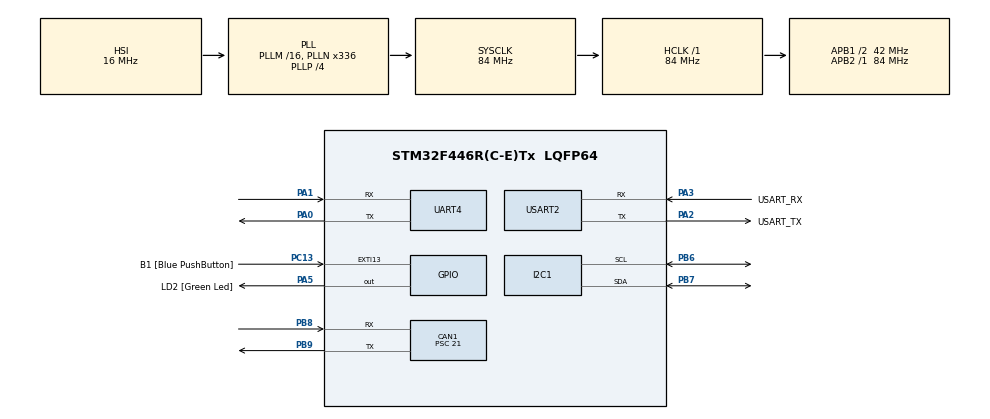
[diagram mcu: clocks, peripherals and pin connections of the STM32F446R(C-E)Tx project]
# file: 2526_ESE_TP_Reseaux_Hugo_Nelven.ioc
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CAN1.BS1=CAN_BS1_2TQ
CAN1.CalculateBaudRate=500000
CAN1.CalculateTimeBit=2000
CAN1.CalculateTimeQuantum=500.0
CAN1.Prescaler=21
Mcu.Family=STM32F4
Mcu.Name=STM32F446R(C-E)Tx
Mcu.Package=LQFP64
NVIC.PriorityGroup=NVIC_PRIORITYGROUP_0
NVIC.UART4_IRQn=true\:0\:0\:false\:false\:true\:true\:true\:true
PA0-WKUP.Mode=Asynchronous
PA0-WKUP.Signal=UART4_TX
PA1.Mode=Asynchronous
PA1.Signal=UART4_RX
PA13.GPIO_Label=TMS
PA13.Mode=Serial_Wire
PA13.Signal=SYS_JTMS-SWDIO
PA14.GPIO_Label=TCK
PA14.Mode=Serial_Wire
PA14.Signal=SYS_JTCK-SWCLK
PA2.GPIO_Label=USART_TX
PA2.Mode=Asynchronous
PA2.Signal=USART2_TX
PA3.GPIO_Label=USART_RX
PA3.Mode=Asynchronous
PA3.Signal=USART2_RX
PA5.GPIO_Label=LD2 [Green Led]
PA5.Signal=GPIO_Output
PB3.GPIO_Label=SWO
PB3.Signal=SYS_JTDO-SWO
PB6.Mode=I2C
PB6.Signal=I2C1_SCL
PB7.Mode=I2C
PB7.Signal=I2C1_SDA
PB8.Mode=CAN_Activate
PB8.Signal=CAN1_RX
PB9.Mode=CAN_Activate
PB9.Signal=CAN1_TX
PC13.GPIO_Label=B1 [Blue PushButton]
PC13.GPIO_ModeDefaultEXTI=GPIO_MODE_IT_FALLING
PC13.Signal=GPXTI13
PC14-OSC32_IN.Mode=LSE-External-Oscillator
PC14-OSC32_IN.Signal=RCC_OSC32_IN
PC15-OSC32_OUT.Mode=LSE-External-Oscillator
PC15-OSC32_OUT.Signal=RCC_OSC32_OUT
PH0-OSC_IN.Mode=HSE-External-Oscillator
PH0-OSC_IN.Signal=RCC_OSC_IN
PH1-OSC_OUT.Mode=HSE-External-Oscillator
PH1-OSC_OUT.Signal=RCC_OSC_OUT
ProjectManager.HeapSize=0x200
ProjectManager.StackSize=0x400
ProjectManager.TargetToolchain=STM32CubeIDE
RCC.48MHZClocksFreq_Value=84000000
RCC.AHBFreq_Value=84000000
RCC.APB1CLKDivider=RCC_HCLK_DIV2
RCC.APB1Freq_Value=42000000
RCC.APB1TimFreq_Value=84000000
RCC.APB2Freq_Value=84000000
RCC.APB2TimFreq_Value=84000000
RCC.CortexFreq_Value=84000000
RCC.FLatency-AdvancedSettings=FLASH_LATENCY_2
RCC.HCLKFreq_Value=84000000
RCC.HSE_VALUE=8000000
RCC.HSI_VALUE=16000000
RCC.PLLN=336
RCC.PLLP=RCC_PLLP_DIV4
RCC.SYSCLKFreq_VALUE=84000000
RCC.SYSCLKSource=RCC_SYSCLKSOURCE_PLLCLK
RCC.USBFreq_Value=168000000
RCC.VCOOutputFreq_Value=336000000
UART4.VirtualMode=Asynchronous
USART2.VirtualMode=VM_ASYNC
board=NUCLEO-F446RE

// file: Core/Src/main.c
/* USER CODE BEGIN Header */
/**
 ******************************************************************************
 * @file           : main.c
 * @brief          : Main program body
 ******************************************************************************
 * @attention
 *
 * Copyright (c) 2025 STMicroelectronics.
 * All rights reserved.
 *
 * This software is licensed under terms that can be found in the LICENSE file
 * in the root directory of this software component.
 * If no LICENSE file comes with this software, it is provided AS-IS.
 *
 ******************************************************************************
 */
/* USER CODE END Header */
#include "main.h"
#include "can.h"
#include "i2c.h"
#include "usart.h"
#include "gpio.h"

/* USER CODE BEGIN Includes */
#include <stdio.h>
#include "bmp280.h"
#include "driver_can.h"
/* USER CODE END Includes */

void SystemClock_Config(void);

/* USER CODE BEGIN 0 */
uint8_t uart4_rx;
char command[16];
uint8_t cmd_index = 0;
/* USER CODE END 0 */

int main(void)
{

	/* MCU Configuration--------------------------------------------------------*/

	/* Reset of all peripherals, Initializes the Flash interface and the Systick. */
	HAL_Init();

	/* Configure the system clock */
	SystemClock_Config();

	/* Initialize all configured peripherals */
	MX_GPIO_Init();
	MX_USART2_UART_Init();
	MX_CAN1_Init();
	MX_I2C1_Init();
	MX_UART4_Init();
	/* USER CODE BEGIN 2 */
	printf("==== 2526_ESE_TP_Reseaux_Hugo_Nelven ====\r\n");
	if (BMP280_Init()!= HAL_OK){
		printf("error init\r\n");
		Error_Handler();
	}

	DRIVER_CAN_Init();

	int32_t temp100;
	uint32_t press100;

	BMP280_ReadCalibration();
	HAL_UART_Receive_IT(&huart4, &uart4_rx, 1);
	/* USER CODE END 2 */

	/* Infinite loop */
	while (1)
	{

		/* USER CODE BEGIN 3 */
		if (BMP280_ReadTempPressInt(&temp100, &press100) == HAL_OK)
		{
//			printf("Temp = %ld.%02ld °C, Press = %lu.%02lu hPa\r\n",
//					temp100 / 100, temp100 % 100,
//					press100 / 100, press100 % 100);
		}

//		DRIVER_CAN_SendAngle(90, POSITIVE);
//		HAL_Delay(1000);
//		DRIVER_CAN_SendAngle(90, NEGATIVE);
//		HAL_Delay(1000);

		temp_to_angle_hot_or_cold(temp100);

	}

	/* USER CODE END 3 */
}

void SystemClock_Config(void)
{
	RCC_OscInitTypeDef RCC_OscInitStruct = {0};
	RCC_ClkInitTypeDef RCC_ClkInitStruct = {0};

	/** Configure the main internal regulator output voltage
	 */
	__HAL_RCC_PWR_CLK_ENABLE();
	__HAL_PWR_VOLTAGESCALING_CONFIG(PWR_REGULATOR_VOLTAGE_SCALE3);

	/** Initializes the RCC Oscillators according to the specified parameters
	 * in the RCC_OscInitTypeDef structure.
	 */
	RCC_OscInitStruct.OscillatorType = RCC_OSCILLATORTYPE_HSI;
	RCC_OscInitStruct.HSIState = RCC_HSI_ON;
	RCC_OscInitStruct.HSICalibrationValue = RCC_HSICALIBRATION_DEFAULT;
	RCC_OscInitStruct.PLL.PLLState = RCC_PLL_ON;
	RCC_OscInitStruct.PLL.PLLSource = RCC_PLLSOURCE_HSI;
	RCC_OscInitStruct.PLL.PLLM = 16;
	RCC_OscInitStruct.PLL.PLLN = 336;
	RCC_OscInitStruct.PLL.PLLP = RCC_PLLP_DIV4;
	RCC_OscInitStruct.PLL.PLLQ = 2;
	RCC_OscInitStruct.PLL.PLLR = 2;
	if (HAL_RCC_OscConfig(&RCC_OscInitStruct) != HAL_OK)
	{
		Error_Handler();
	}

	/** Initializes the CPU, AHB and APB buses clocks
	 */
	RCC_ClkInitStruct.ClockType = RCC_CLOCKTYPE_HCLK|RCC_CLOCKTYPE_SYSCLK
			|RCC_CLOCKTYPE_PCLK1|RCC_CLOCKTYPE_PCLK2;
	RCC_ClkInitStruct.SYSCLKSource = RCC_SYSCLKSOURCE_PLLCLK;
	RCC_ClkInitStruct.AHBCLKDivider = RCC_SYSCLK_DIV1;
	RCC_ClkInitStruct.APB1CLKDivider = RCC_HCLK_DIV2;
	RCC_ClkInitStruct.APB2CLKDivider = RCC_HCLK_DIV1;

	if (HAL_RCC_ClockConfig(&RCC_ClkInitStruct, FLASH_LATENCY_2) != HAL_OK)
	{
		Error_Handler();
	}
}

void Error_Handler(void)
{
	__disable_irq();
	while (1)
	{
	}
}
